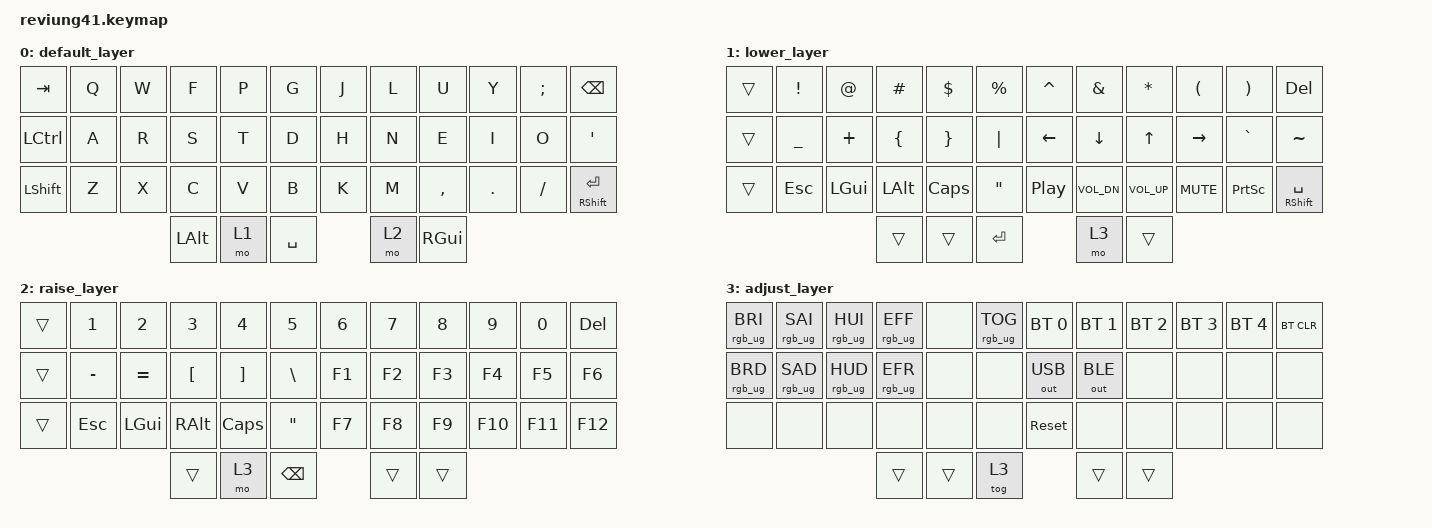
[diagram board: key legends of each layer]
/*
 * Copyright (c) 2020 The ZMK Contributors
 *
 * SPDX-License-Identifier: MIT
 */

#include <behaviors.dtsi>
#include <dt-bindings/zmk/keys.h>
#include <dt-bindings/zmk/bt.h>
#include <dt-bindings/zmk/rgb.h>
#include <dt-bindings/zmk/outputs.h>

/ {
    keymap {
        compatible = "zmk,keymap";

        default_layer {
// ---------------------------------------------------------------------------------
// |  TAB |  Q  |  W  |  F  |  P  |  G  |   |  J  |  L  |  U  |  Y  |  ;  |  BKSP |
// | CTRL |  A  |  R  |  S  |  T  |  D  |   |  H  |  N  |  E  |  I  |  O  |   '   |
// | SHFT |  Z  |  X  |  C  |  V  |  B  |   |  K  |  M  |  ,  |  .  |  /  | SHFT  |
//                    | ALT | LWR | SPC | RSE | GUI |
            bindings = <
   &kp TAB   &kp Q &kp W &kp F &kp P &kp G   &kp J &kp L  &kp U     &kp Y   &kp SEMI &kp BSPC
   &kp LCTRL &kp A &kp R &kp S &kp T &kp D   &kp H &kp N  &kp E     &kp I   &kp O    &kp SQT
   &kp LSHFT &kp Z &kp X &kp C &kp V &kp B   &kp K &kp M  &kp COMMA &kp DOT &kp FSLH &mt RSHFT RET
                        &kp LALT &mo 1 &kp SPACE &mo 2 &kp RGUI
            >;
        };

        lower_layer {
// ---------------------------------------------------------------------------------
// |    |  !  |  @  |  #  |  $  |  %  |   |  ^  |  &  |  *  |  (  |  )  |  DEL  |
// |    |  _  |  +  |  {  |  }  | "|" |   | LFT | DWN |  UP | RGT |  `  |   ~   |
// |    | ESC | GUI | ALT | CAPS|  "  |   | PLAY| VOL-| VOL+| MUTE| PRSC| SHFT  |
//                  |     |     | RET | ADJ |     |
            bindings = <
   &trans &kp EXCL  &kp AT   &kp HASH &kp DLLR &kp PRCNT    &kp CARET        &kp AMPS     &kp ASTRK    &kp LPAR   &kp RPAR  &kp DEL
   &trans &kp UNDER &kp PLUS &kp LBRC &kp RBRC &kp PIPE     &kp LEFT         &kp DOWN     &kp UP       &kp RIGHT  &kp GRAVE &kp TILDE
   &trans &kp ESC   &kp LGUI &kp LALT &kp CLCK &kp DQT      &kp C_PLAY_PAUSE &kp C_VOL_DN &kp C_VOL_UP &kp C_MUTE &kp PSCRN &mt RSHFT SPACE
                             &trans   &trans   &kp RET      &mo 3            &trans
            >;
        };

        raise_layer {
// ---------------------------------------------------------------------------------
// |    |  1  |  2  |  3  |  4  |  5  |   |  6  |  7  |  8  |  9  |  0  | DEL |
// |    |  -  |  =  |  [  |  ]  |  \  |   | F1  | F2  | F3  | F4  | F5  | F6  |
// |    | ESC | GUI | ALT | CAPS|  "  |   | F7  | F8  | F9  | F10 | F11 | F12 |
//                  |     | ADJ | BKSP |    |     |
            bindings = <
   &trans &kp N1    &kp N2    &kp N3   &kp N4   &kp N5       &kp N6  &kp N7  &kp N8  &kp N9   &kp N0   &kp DEL
   &trans &kp MINUS &kp EQUAL &kp LBKT &kp RBKT &kp BSLH     &kp F1  &kp F2  &kp F3  &kp F4   &kp F5   &kp F6
   &trans &kp ESC   &kp LGUI  &kp RALT &kp CLCK &kp DQT      &kp F7  &kp F8  &kp F9  &kp F10  &kp F11  &kp F12
                              &trans   &mo 3    &kp BSPC     &trans  &trans
            >;
        };

        adjust_layer {
// ---------------------------------------------------------------------------------
// | BRI+ | SAT+ | HUE+ | ANI+ |      | TOG  |   | BT1 | BT2 | BT3 | BT4 | BT5 | BT CLR |
// | BRI- | SAT- | HUE- | ANI- |      |      |   | USB | BLE |     |     |     |        |
// |      |      |      |      |      |      |   | RST |     |     |     |     |        |
//                      |     |     |     |     |     |
            bindings = <
   &rgb_ug RGB_BRI &rgb_ug RGB_SAI &rgb_ug RGB_HUI &rgb_ug RGB_EFF &none &rgb_ug RGB_TOG    &bt BT_SEL 0 &bt BT_SEL 1 &bt BT_SEL 2 &bt BT_SEL 3 &bt BT_SEL 4 &bt BT_CLR
   &rgb_ug RGB_BRD &rgb_ug RGB_SAD &rgb_ug RGB_HUD &rgb_ug RGB_EFR &none &none              &out OUT_USB &out OUT_BLE &none        &none        &none        &none
   &none           &none           &none           &none           &none &none              &sys_reset   &none        &none        &none        &none        &none
                                                   &trans &trans &tog 3  &trans &trans
            >;
        };
    };
};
